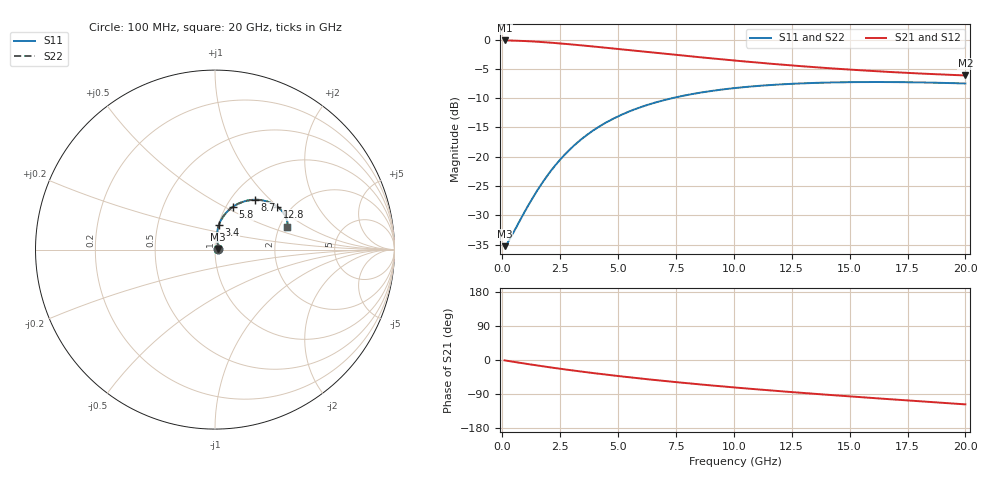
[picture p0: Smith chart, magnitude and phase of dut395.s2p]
! Touchstone file exported from HFSS 2024.1.0
!  File:  C:/UserFiles/LocalFiles/RDL_TSV_Batchsim/temp_RDL_TSV_395_1779648380.aedt
!  Generated:  03:18:38 AM May 25, 2026
!  Design:  RDL_TSV
!  Project:  temp_RDL_TSV_395_1779648380
!  Setup:  Setup1
!  Solution:  Sweep
! Variables:
!  dtsv = 5.08um
!  hbump = 3um
!  htsv = 76.85um
!  ldown = 166.27um
!  lrdl = 208.18um
!  p = 40
!  p1 = 45.88um
!  rhole = 10um
!  subl = 1331.53um
!  t = 450um
!  tdown = 2.18um
!  trdl = 2.32um
!  viad = 10um
!  wdown = 21.48um
!  wrdl = 11.38um
!  xbump = 18um
# GHz S MA R 50.000000
! Terminal data exported
! Port[1] = TM1_1_T1
! Port[2] = TM1_4_T1
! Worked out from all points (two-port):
!   200 points, 100 MHz to 20 GHz, reference 50 ohm
!   highest |S21| = -0.15 dB at 100 MHz (marker M1); lowest = -6.1 dB at 20 GHz (marker M2)
!   |S21| within 3 dB of the highest: start of sweep to 8.886 GHz
!   lowest |S11| = -35.3 dB at 100 MHz (marker M3), VSWR 1.04, Z = 51.7 + j0.329 ohm
!   |S11| at or under -10 dB: start of sweep to 7.339 GHz
!   |S22| runs from -35.3 to -7.2 dB; largest |S21 - S12| = 9.2e-15
!   S11 on the Smith chart (normalised r, x): 100 MHz: 1.03, +0.01; 3.4 GHz: 1.01, +0.28; 5.8 GHz: 1.08, +0.55; 8.7 GHz: 1.28, +0.82; 12.8 GHz: 1.71, +0.99; 20 GHz: 2.20, +0.68
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0.1  0.01723 10.6  0.9829 -1.0  0.9829 -1.0  0.01723 10.6
! Gamma 0 0 0 0
! Port Impedance 50 0 50 0
0.3  0.01942 29.0  0.9817 -3.0  0.9817 -3.0  0.01942 29.0
0.9  0.0321 60.8  0.9732 -8.8  0.9732 -8.8  0.0321 60.8
1.4  0.04749 73.8  0.9618 -13.4  0.9618 -13.4  0.04749 73.8
1.9  0.06699 80.2  0.9473 -18.0  0.9473 -18.0  0.067 80.2
2.2  0.0803 82.0  0.9375 -20.6  0.9375 -20.6  0.08031 82.0
2.6  0.09939 82.7  0.9234 -24.0  0.9234 -24.0  0.09941 82.7
3  0.1195 82.2  0.9087 -27.3  0.9087 -27.3  0.1196 82.2
3.4  0.1402 80.9  0.8935 -30.4  0.8935 -30.4  0.1403 80.9
3.5  0.1454 80.5  0.8896 -31.2  0.8896 -31.2  0.1455 80.5
4  0.1714 78.1  0.8702 -35.0  0.8702 -35.0  0.1714 78.1
4.6  0.2017 74.7  0.847 -39.4  0.847 -39.4  0.2018 74.7
5.8  0.2574 67.4  0.8013 -47.7  0.8013 -47.7  0.2575 67.4
6.8  0.2973 61.4  0.7649 -54.1  0.7649 -54.1  0.2974 61.5
7.7  0.3279 56.4  0.7339 -59.6  0.7339 -59.6  0.328 56.4
8.7  0.3562 51.2  0.7016 -65.3  0.7016 -65.3  0.3564 51.2
10.1  0.3867 44.7  0.6605 -72.9  0.6605 -72.9  0.387 44.7
11.4  0.407 39.4  0.6268 -79.4  0.6268 -79.4  0.4073 39.4
12.8  0.4217 34.4  0.5952 -86.1  0.5952 -86.1  0.422 34.4
13.4  0.4261 32.5  0.5831 -88.9  0.5831 -88.9  0.4264 32.5
16.7  0.4339 23.6  0.5295 -103.3  0.5295 -103.3  0.4342 23.7
20  0.4218 17.5  0.4942 -117.1  0.4942 -117.1  0.4221 17.6
